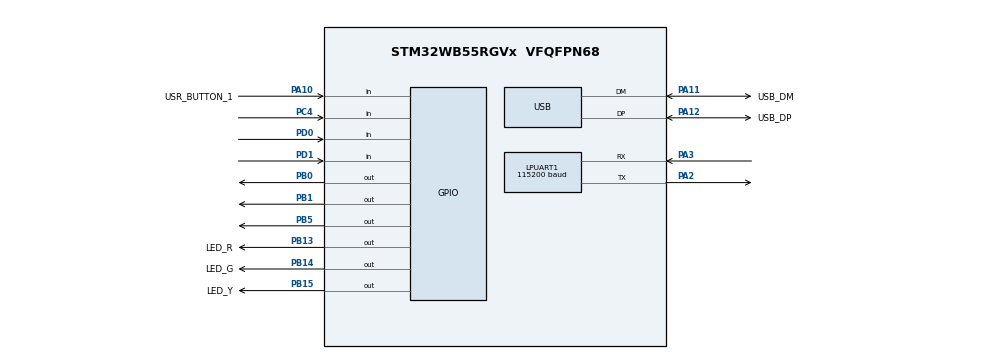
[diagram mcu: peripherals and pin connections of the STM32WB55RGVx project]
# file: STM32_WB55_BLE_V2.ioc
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Dma.LPUART1_RX.0.Direction=DMA_PERIPH_TO_MEMORY
Dma.LPUART1_RX.0.EventEnable=DISABLE
Dma.LPUART1_RX.0.Instance=DMA1_Channel1
Dma.LPUART1_RX.0.MemDataAlignment=DMA_MDATAALIGN_BYTE
Dma.LPUART1_RX.0.MemInc=DMA_MINC_ENABLE
Dma.LPUART1_RX.0.Mode=DMA_NORMAL
Dma.LPUART1_RX.0.PeriphDataAlignment=DMA_PDATAALIGN_BYTE
Dma.LPUART1_RX.0.PeriphInc=DMA_PINC_DISABLE
Dma.LPUART1_RX.0.Polarity=HAL_DMAMUX_REQ_GEN_RISING
Dma.LPUART1_RX.0.Priority=DMA_PRIORITY_MEDIUM
Dma.LPUART1_RX.0.RequestNumber=1
Dma.LPUART1_RX.0.SignalID=NONE
Dma.LPUART1_RX.0.SyncEnable=DISABLE
Dma.LPUART1_RX.0.SyncPolarity=HAL_DMAMUX_SYNC_NO_EVENT
Dma.LPUART1_RX.0.SyncRequestNumber=1
Dma.LPUART1_RX.0.SyncSignalID=NONE
Dma.LPUART1_TX.1.Direction=DMA_MEMORY_TO_PERIPH
Dma.LPUART1_TX.1.EventEnable=DISABLE
Dma.LPUART1_TX.1.Instance=DMA1_Channel2
Dma.LPUART1_TX.1.MemDataAlignment=DMA_MDATAALIGN_BYTE
Dma.LPUART1_TX.1.MemInc=DMA_MINC_ENABLE
Dma.LPUART1_TX.1.Mode=DMA_NORMAL
Dma.LPUART1_TX.1.PeriphDataAlignment=DMA_PDATAALIGN_BYTE
Dma.LPUART1_TX.1.PeriphInc=DMA_PINC_DISABLE
Dma.LPUART1_TX.1.Polarity=HAL_DMAMUX_REQ_GEN_RISING
Dma.LPUART1_TX.1.Priority=DMA_PRIORITY_MEDIUM
Dma.LPUART1_TX.1.RequestNumber=1
Dma.LPUART1_TX.1.SignalID=NONE
Dma.LPUART1_TX.1.SyncEnable=DISABLE
Dma.LPUART1_TX.1.SyncPolarity=HAL_DMAMUX_SYNC_NO_EVENT
Dma.LPUART1_TX.1.SyncRequestNumber=1
Dma.LPUART1_TX.1.SyncSignalID=NONE
Dma.Request0=LPUART1_RX
Dma.Request1=LPUART1_TX
LPUART1.BaudRate=115200
Mcu.Family=STM32WB
Mcu.Name=STM32WB55RGVx
Mcu.Package=VFQFPN68
NVIC.DMA1_Channel1_IRQn=true\:0\:0\:false\:false\:true\:false\:true\:true
NVIC.DMA1_Channel2_IRQn=true\:0\:0\:false\:false\:true\:false\:true\:true
NVIC.HSEM_IRQn=true\:0\:0\:false\:false\:true\:false\:true\:true
NVIC.IPCC_C1_RX_IRQn=true\:0\:0\:false\:false\:true\:true\:true\:true
NVIC.IPCC_C1_TX_IRQn=true\:0\:0\:false\:false\:true\:true\:true\:true
NVIC.LPUART1_IRQn=true\:0\:0\:false\:false\:true\:true\:true\:true
NVIC.PriorityGroup=NVIC_PRIORITYGROUP_4
NVIC.USB_HP_IRQn=true\:0\:0\:false\:false\:true\:true\:true\:true
NVIC.USB_LP_IRQn=true\:0\:0\:false\:false\:true\:false\:true\:true
OSC_IN.GPIO_Label=RCC_OSC_IN
OSC_IN.Mode=HSE-External-Oscillator
OSC_IN.Signal=RCC_OSC_IN
OSC_OUT.GPIO_Label=RCC_OSC_OUT
OSC_OUT.Mode=HSE-External-Oscillator
OSC_OUT.Signal=RCC_OSC_OUT
P-NUCLEO-WB55-NUCLEO.BUTTON=1
P-NUCLEO-WB55-NUCLEO.BUTTON2=1
P-NUCLEO-WB55-NUCLEO.BUTTON3=1
P-NUCLEO-WB55-NUCLEO.Bsp_Common_DEMO=true
P-NUCLEO-WB55-NUCLEO.LD1=true
P-NUCLEO-WB55-NUCLEO.LD2=true
P-NUCLEO-WB55-NUCLEO.LD3=true
P-NUCLEO-WB55-NUCLEO.VCP=false
PA10.GPIO_Label=USR_BUTTON_1
PA10.Signal=GPIO_Input
PA11.GPIO_Label=USB_DM
PA11.Mode=Device
PA11.Signal=USB_DM
PA12.GPIO_Label=USB_DP
PA12.Mode=Device
PA12.Signal=USB_DP
PA13.GPIO_Label=JTMS
PA13.Signal=SYS_JTMS-SWDIO
PA14.GPIO_Label=JTCK
PA14.Signal=SYS_JTCK-SWCLK
PA2.Mode=Asynchronous
PA2.Signal=LPUART1_TX
PA3.Mode=Asynchronous
PA3.Signal=LPUART1_RX
PB0.Signal=GPIO_Output
PB1.Signal=GPIO_Output
PB13.GPIO_Label=LED_R
PB13.Signal=GPIO_Output
PB14.GPIO_Label=LED_G
PB14.Signal=GPIO_Output
PB15.GPIO_Label=LED_Y
PB15.Signal=GPIO_Output
PB3.GPIO_Label=JTDO
PB3.Signal=SYS_JTDO-SWO
PB5.Signal=GPIO_Output
PC13.GPIO_Label=SYS_WKUP2
PC13.Signal=SYS_WKUP2
PC14-OSC32_IN.GPIO_Label=RCC_OSC32_IN
PC14-OSC32_IN.Signal=RCC_OSC32_IN
PC15-OSC32_OUT.GPIO_Label=RCC_OSC32_OUT
PC15-OSC32_OUT.Signal=RCC_OSC32_OUT
PC4.Signal=GPIO_Input
PD0.Signal=GPIO_Input
PD1.Signal=GPIO_Input
ProjectManager.HeapSize=0x2000
ProjectManager.StackSize=0x4000
ProjectManager.TargetToolchain=CMake
RCC.ADCFreq_Value=48000000
RCC.AHB2CLKDivider=RCC_SYSCLK_DIV2
RCC.AHBFreq_Value=64000000
RCC.APB1Freq_Value=64000000
RCC.APB1TimFreq_Value=64000000
RCC.APB2Freq_Value=64000000
RCC.APB2TimFreq_Value=64000000
RCC.APB3Freq_Value=16000000
RCC.CK48CLockSelection=RCC_USBCLKSOURCE_PLL
RCC.CortexFreq_Value=64000000
RCC.HCLKFreq_Value=64000000
RCC.HSE_VALUE=32000000
RCC.HSI48_VALUE=48000000
RCC.HSI_VALUE=16000000
RCC.LSE_VALUE=32768
RCC.PLLN=48
RCC.PLLQ=RCC_PLLQ_DIV4
RCC.PLLR=RCC_PLLR_DIV3
RCC.PLLSAI1N=24
RCC.SMPSCLockSelection=RCC_SMPSCLKSOURCE_HSI
RCC.SMPSCLockSelectionVirtual=RCC_SMPSCLKSOURCE_HSI
RCC.SMPSCLockSelectionVirtualVirtual=RCC_SMPSCLKSOURCE_HSI
RCC.SMPSDivider=1
RCC.SYSCLKFreq_VALUE=64000000
RCC.SYSCLKSource=RCC_SYSCLKSOURCE_PLLCLK
RCC.USBFreq_Value=48000000
RCC.VCOOutputFreq_Value=192000000
RF1.Mode=RF1_Activate
RF1.Signal=RF_RF1
STM32_WPAN.BLE_APPLICATION_TYPE=BLE_CLIENT_PROFILE
STM32_WPAN.CFG_BLE_NUM_LINK=8
STM32_WPAN.CFG_DEBUG_APP_TRACE=1
STM32_WPAN.CFG_DEBUG_BLE_TRACE=1
STM32_WPAN.CFG_DEBUG_TRACE_FULL=1
STM32_WPAN.CFG_DEBUG_TRACE_LIGHT=1
STM32_WPAN.CFG_DEBUG_TRACE_UART=hw_lpuart1
STM32_WPAN.CFG_HW_LPUART1_ENABLED=1
STM32_WPAN.CFG_LSCLK_LSE=0
USB.low_power_enable=DISABLE
USB_DEVICE.CLASS_NAME_FS=CDC
USB_DEVICE.VirtualMode=Cdc
USB_DEVICE.VirtualModeFS=Cdc_FS
VP_HSEM_VS_HSEM.Mode=HSEM_Activate
VP_IPCC_VS_IPCC.Mode=IPCC_Activate
VP_MEMORYMAP_VS_MEMORYMAP.Mode=CurAppReg
VP_P-NUCLEO-WB55-NUCLEO_VS_BSP_COMMON.Mode=COMMON
VP_RCC_USB.Mode=CRS SYNC Source USB
VP_RNG_VS_RNG.Mode=RNG_Activate
VP_RTC_VS_RTC_Activate.Mode=RTC_Enabled
VP_SEQUENCER_VS_SEQUENCER.Mode=SEQUENCER_Enabled
VP_STM32_WPAN_VS_BLE_HOST.Mode=STM32_WPAN_Enabled
VP_TINY_LPM_VS_TINY_LPM.Mode=TINY_LPM_Enabled
VP_USB_DEVICE_VS_USB_DEVICE_CDC_FS.Mode=CDC_FS
board=P-NUCLEO-WB55-NUCLEO

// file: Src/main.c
/* USER CODE BEGIN Header */
/**
  ******************************************************************************
  * @file           : main.c
  * @brief          : Main program body
  ******************************************************************************
  * @attention
  *
  * Copyright (c) 2026 STMicroelectronics.
  * All rights reserved.
  *
  * This software is licensed under terms that can be found in the LICENSE file
  * in the root directory of this software component.
  * If no LICENSE file comes with this software, it is provided AS-IS.
  *
  ******************************************************************************
  */
/* USER CODE END Header */
#include "main.h"
#include "usb_device.h"

/* USER CODE BEGIN Includes */
#include "usbd_cdc_if.h"
#include "module_execute.h"
/* USER CODE END Includes */

static uint32_t delay = 250;
IPCC_HandleTypeDef hipcc;

UART_HandleTypeDef hlpuart1;
DMA_HandleTypeDef hdma_lpuart1_rx;
DMA_HandleTypeDef hdma_lpuart1_tx;

RNG_HandleTypeDef hrng;

RTC_HandleTypeDef hrtc;

void SystemClock_Config(void);
void PeriphCommonClock_Config(void);
static void MX_GPIO_Init(void);
static void MX_DMA_Init(void);
static void MX_IPCC_Init(void);
static void MX_LPUART1_UART_Init(void);
static void MX_RNG_Init(void);
static void MX_RTC_Init(void);
static void MX_RF_Init(void);

/* USER CODE BEGIN 0 */
int _write(int file , char *ptr, int len)
{
  // Only transmit if USB is configured
  CDC_Transmit_FS((uint8_t *)ptr, len);
  return len;
}
/* USER CODE END 0 */

int main(void)
{

  /* MCU Configuration--------------------------------------------------------*/

  /* Reset of all peripherals, Initializes the Flash interface and the Systick. */
  HAL_Init();
  /* Config code for STM32_WPAN (HSE Tuning must be done before system clock configuration) */
  MX_APPE_Config();

  /* Configure the system clock */
  SystemClock_Config();

  /* Configure the peripherals common clocks */
  PeriphCommonClock_Config();

  /* IPCC initialisation */
  MX_IPCC_Init();

  /* Initialize all configured peripherals */
  MX_GPIO_Init();
  MX_DMA_Init();
  MX_LPUART1_UART_Init();
  MX_RNG_Init();
  MX_RTC_Init();
  /* Init code for STM32_WPAN */
  MX_APPE_Init();
  HAL_Delay(100); /**< Delay after APPE_Init for core M0+ to start */
  MX_USB_Device_Init();
  MX_RF_Init();
  /* USER CODE BEGIN 2 */
  printf("**** STM32WB55 BLE V2 Board ****\r\n");
  /* USER CODE END 2 */

  /* Initialize leds */
  // BSP_LED_Init(LED_BLUE);
  // BSP_LED_Init(LED_GREEN);
  // BSP_LED_Init(LED_RED);

  /* Initialize USER push-button, will be used to trigger an interrupt each time it's pressed.*/
  // BSP_PB_Init(BUTTON_SW1, BUTTON_MODE_EXTI);
  // BSP_PB_Init(BUTTON_SW2, BUTTON_MODE_EXTI);
  // BSP_PB_Init(BUTTON_SW3, BUTTON_MODE_EXTI);

  /* USER CODE BEGIN BSP */

  /* -- Sample board code to switch on leds ---- */
  // BSP_LED_On(LED_BLUE);
  // BSP_LED_On(LED_GREEN);
  // BSP_LED_On(LED_RED);
  HAL_GPIO_WritePin(GPIOB, LED_Y_Pin, GPIO_PIN_SET);
  HAL_GPIO_WritePin(GPIOB, LED_G_Pin, GPIO_PIN_SET);
  HAL_GPIO_WritePin(GPIOB, LED_R_Pin, GPIO_PIN_SET);
  printf("All Leds On\r\n");
  module_ble_init();
  printf("BLE Module Initialized\r\n");
  /* USER CODE END BSP */

  /* Infinite loop */
  /* USER CODE BEGIN WHILE */
  while (1)
  {

    /* -- Sample board code for User push-button in interrupt mode ---- */
    // // BSP_LED_Toggle(LED_BLUE);
    // HAL_GPIO_TogglePin(GPIOB, LED_Y_Pin);
    // HAL_Delay(delay);

    // // BSP_LED_Toggle(LED_GREEN);
    // HAL_GPIO_TogglePin(GPIOB, LED_G_Pin);
    // HAL_Delay(delay);

    // // BSP_LED_Toggle(LED_RED);
    // HAL_GPIO_TogglePin(GPIOB, LED_R_Pin);
    // HAL_Delay(delay);

    /* USER CODE END WHILE */
    MX_APPE_Process();

    /* USER CODE BEGIN 3 */
    // printf("Main loop is running!\r\n");
  }
  /* USER CODE END 3 */
}

void SystemClock_Config(void)
{
  RCC_OscInitTypeDef RCC_OscInitStruct = {0};
  RCC_ClkInitTypeDef RCC_ClkInitStruct = {0};
  RCC_CRSInitTypeDef RCC_CRSInitStruct = {0};

  /** Configure the main internal regulator output voltage
  */
  __HAL_PWR_VOLTAGESCALING_CONFIG(PWR_REGULATOR_VOLTAGE_SCALE1);

  /** Initializes the RCC Oscillators according to the specified parameters
  * in the RCC_OscInitTypeDef structure.
  */
  RCC_OscInitStruct.OscillatorType = RCC_OSCILLATORTYPE_HSI|RCC_OSCILLATORTYPE_LSI1
                              |RCC_OSCILLATORTYPE_HSE|RCC_OSCILLATORTYPE_LSE
                              |RCC_OSCILLATORTYPE_MSI;
  RCC_OscInitStruct.HSEState = RCC_HSE_ON;
  RCC_OscInitStruct.LSEState = RCC_LSE_OFF;
  RCC_OscInitStruct.HSIState = RCC_HSI_ON;
  RCC_OscInitStruct.MSIState = RCC_MSI_ON;
  RCC_OscInitStruct.HSICalibrationValue = RCC_HSICALIBRATION_DEFAULT;
  RCC_OscInitStruct.MSICalibrationValue = RCC_MSICALIBRATION_DEFAULT;
  RCC_OscInitStruct.MSIClockRange = RCC_MSIRANGE_6;
  RCC_OscInitStruct.LSIState = RCC_LSI_ON;
  RCC_OscInitStruct.PLL.PLLState = RCC_PLL_ON;
  RCC_OscInitStruct.PLL.PLLSource = RCC_PLLSOURCE_MSI;
  RCC_OscInitStruct.PLL.PLLM = RCC_PLLM_DIV1;
  RCC_OscInitStruct.PLL.PLLN = 48;
  RCC_OscInitStruct.PLL.PLLP = RCC_PLLP_DIV2;
  RCC_OscInitStruct.PLL.PLLR = RCC_PLLR_DIV3;
  RCC_OscInitStruct.PLL.PLLQ = RCC_PLLQ_DIV4;
  if (HAL_RCC_OscConfig(&RCC_OscInitStruct) != HAL_OK)
  {
    Error_Handler();
  }

  /** Configure the SYSCLKSource, HCLK, PCLK1 and PCLK2 clocks dividers
  */
  RCC_ClkInitStruct.ClockType = RCC_CLOCKTYPE_HCLK4|RCC_CLOCKTYPE_HCLK2
                              |RCC_CLOCKTYPE_HCLK|RCC_CLOCKTYPE_SYSCLK
                              |RCC_CLOCKTYPE_PCLK1|RCC_CLOCKTYPE_PCLK2;
  RCC_ClkInitStruct.SYSCLKSource = RCC_SYSCLKSOURCE_PLLCLK;
  RCC_ClkInitStruct.AHBCLKDivider = RCC_SYSCLK_DIV1;
  RCC_ClkInitStruct.APB1CLKDivider = RCC_HCLK_DIV1;
  RCC_ClkInitStruct.APB2CLKDivider = RCC_HCLK_DIV1;
  RCC_ClkInitStruct.AHBCLK2Divider = RCC_SYSCLK_DIV2;
  RCC_ClkInitStruct.AHBCLK4Divider = RCC_SYSCLK_DIV1;

  if (HAL_RCC_ClockConfig(&RCC_ClkInitStruct, FLASH_LATENCY_3) != HAL_OK)
  {
    Error_Handler();
  }

  /** Enable MSI Auto calibration
  */
  HAL_RCCEx_EnableMSIPLLMode();

  /** Enable the SYSCFG APB clock
  */
  __HAL_RCC_CRS_CLK_ENABLE();

  /** Configures CRS
  */
  RCC_CRSInitStruct.Prescaler = RCC_CRS_SYNC_DIV1;
  RCC_CRSInitStruct.Source = RCC_CRS_SYNC_SOURCE_USB;
  RCC_CRSInitStruct.Polarity = RCC_CRS_SYNC_POLARITY_RISING;
  RCC_CRSInitStruct.ReloadValue = __HAL_RCC_CRS_RELOADVALUE_CALCULATE(48000000,1000);
  RCC_CRSInitStruct.ErrorLimitValue = 34;
  RCC_CRSInitStruct.HSI48CalibrationValue = 32;

  HAL_RCCEx_CRSConfig(&RCC_CRSInitStruct);
}

void PeriphCommonClock_Config(void)
{
  RCC_PeriphCLKInitTypeDef PeriphClkInitStruct = {0};

  /** Initializes the peripherals clock
  */
  PeriphClkInitStruct.PeriphClockSelection = RCC_PERIPHCLK_SMPS|RCC_PERIPHCLK_RFWAKEUP;
  PeriphClkInitStruct.RFWakeUpClockSelection = RCC_RFWKPCLKSOURCE_HSE_DIV1024;
  PeriphClkInitStruct.SmpsClockSelection = RCC_SMPSCLKSOURCE_HSI;
  PeriphClkInitStruct.SmpsDivSelection = RCC_SMPSCLKDIV_RANGE0;

  if (HAL_RCCEx_PeriphCLKConfig(&PeriphClkInitStruct) != HAL_OK)
  {
    Error_Handler();
  }
}

static void MX_IPCC_Init(void)
{

  hipcc.Instance = IPCC;
  if (HAL_IPCC_Init(&hipcc) != HAL_OK)
  {
    Error_Handler();
  }

}

static void MX_LPUART1_UART_Init(void)
{

  hlpuart1.Instance = LPUART1;
  hlpuart1.Init.BaudRate = 115200;
  hlpuart1.Init.WordLength = UART_WORDLENGTH_8B;
  hlpuart1.Init.StopBits = UART_STOPBITS_1;
  hlpuart1.Init.Parity = UART_PARITY_NONE;
  hlpuart1.Init.Mode = UART_MODE_TX_RX;
  hlpuart1.Init.HwFlowCtl = UART_HWCONTROL_NONE;
  hlpuart1.Init.OneBitSampling = UART_ONE_BIT_SAMPLE_DISABLE;
  hlpuart1.Init.ClockPrescaler = UART_PRESCALER_DIV1;
  hlpuart1.AdvancedInit.AdvFeatureInit = UART_ADVFEATURE_NO_INIT;
  hlpuart1.FifoMode = UART_FIFOMODE_DISABLE;
  if (HAL_UART_Init(&hlpuart1) != HAL_OK)
  {
    Error_Handler();
  }
  if (HAL_UARTEx_SetTxFifoThreshold(&hlpuart1, UART_TXFIFO_THRESHOLD_1_8) != HAL_OK)
  {
    Error_Handler();
  }
  if (HAL_UARTEx_SetRxFifoThreshold(&hlpuart1, UART_RXFIFO_THRESHOLD_1_8) != HAL_OK)
  {
    Error_Handler();
  }
  if (HAL_UARTEx_DisableFifoMode(&hlpuart1) != HAL_OK)
  {
    Error_Handler();
  }
  /* USER CODE BEGIN LPUART1_Init 2 */
  // Enable UART RX interrupt for AT command reception
  __HAL_UART_ENABLE_IT(&hlpuart1, UART_IT_RXNE);
  HAL_NVIC_SetPriority(LPUART1_IRQn, 5, 0);
  HAL_NVIC_EnableIRQ(LPUART1_IRQn);
  /* USER CODE END LPUART1_Init 2 */

}

static void MX_RF_Init(void)
{

}

static void MX_RNG_Init(void)
{

  hrng.Instance = RNG;
  hrng.Init.ClockErrorDetection = RNG_CED_ENABLE;
  if (HAL_RNG_Init(&hrng) != HAL_OK)
  {
    Error_Handler();
  }

}

static void MX_RTC_Init(void)
{

  /** Initialize RTC Only
  */
  hrtc.Instance = RTC;
  hrtc.Init.HourFormat = RTC_HOURFORMAT_24;
  hrtc.Init.AsynchPrediv = CFG_RTC_ASYNCH_PRESCALER;
  hrtc.Init.SynchPrediv = CFG_RTC_SYNCH_PRESCALER;
  hrtc.Init.OutPut = RTC_OUTPUT_DISABLE;
  hrtc.Init.OutPutPolarity = RTC_OUTPUT_POLARITY_HIGH;
  hrtc.Init.OutPutType = RTC_OUTPUT_TYPE_OPENDRAIN;
  hrtc.Init.OutPutRemap = RTC_OUTPUT_REMAP_NONE;
  if (HAL_RTC_Init(&hrtc) != HAL_OK)
  {
    Error_Handler();
  }

}

static void MX_DMA_Init(void)
{

  /* DMA controller clock enable */
  __HAL_RCC_DMAMUX1_CLK_ENABLE();
  __HAL_RCC_DMA1_CLK_ENABLE();

  /* DMA interrupt init */
  /* DMA1_Channel1_IRQn interrupt configuration */
  HAL_NVIC_SetPriority(DMA1_Channel1_IRQn, 0, 0);
  HAL_NVIC_EnableIRQ(DMA1_Channel1_IRQn);
  /* DMA1_Channel2_IRQn interrupt configuration */
  HAL_NVIC_SetPriority(DMA1_Channel2_IRQn, 0, 0);
  HAL_NVIC_EnableIRQ(DMA1_Channel2_IRQn);

}

static void MX_GPIO_Init(void)
{
  GPIO_InitTypeDef GPIO_InitStruct = {0};

  /* GPIO Ports Clock Enable */
  __HAL_RCC_GPIOC_CLK_ENABLE();
  __HAL_RCC_GPIOA_CLK_ENABLE();
  __HAL_RCC_GPIOB_CLK_ENABLE();

  /*Configure GPIO pin Output Level */
  HAL_GPIO_WritePin(GPIOB, LED_R_Pin|LED_G_Pin|LED_Y_Pin, GPIO_PIN_RESET);

  /*Configure GPIO pins : LED_R_Pin LED_G_Pin LED_Y_Pin */
  GPIO_InitStruct.Pin = LED_R_Pin|LED_G_Pin|LED_Y_Pin;
  GPIO_InitStruct.Mode = GPIO_MODE_OUTPUT_PP;
  GPIO_InitStruct.Pull = GPIO_NOPULL;
  GPIO_InitStruct.Speed = GPIO_SPEED_FREQ_LOW;
  HAL_GPIO_Init(GPIOB, &GPIO_InitStruct);

  /*Configure GPIO pin : USR_BUTTON_1_Pin */
  GPIO_InitStruct.Pin = USR_BUTTON_1_Pin;
  GPIO_InitStruct.Mode = GPIO_MODE_INPUT;
  GPIO_InitStruct.Pull = GPIO_NOPULL;
  HAL_GPIO_Init(USR_BUTTON_1_GPIO_Port, &GPIO_InitStruct);

}

/**
  * @brief EXTI line detection callback.
  * @param GPIO_Pin: Specifies the pins connected EXTI line
  * @retval None
  */
void HAL_GPIO_EXTI_Callback(uint16_t GPIO_Pin)
{
  switch(GPIO_Pin)
  {
    case BUTTON_SW1_PIN:
      /* Change the period to 100 ms */
      delay = 100;
      break;
    case BUTTON_SW2_PIN:
      /* Change the period to 500 ms */
      delay = 500;
      break;
    case BUTTON_SW3_PIN:
      /* Change the period to 1000 ms */
      delay = 1000;
      break;
    default:
      break;
  }
}

void Error_Handler(void)
{
  __disable_irq();
  while (1)
  {
  }
}
